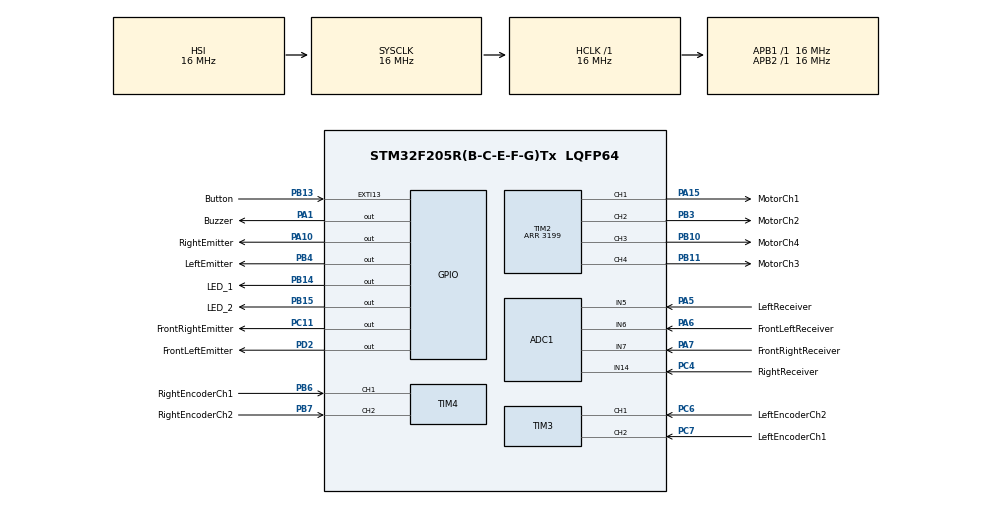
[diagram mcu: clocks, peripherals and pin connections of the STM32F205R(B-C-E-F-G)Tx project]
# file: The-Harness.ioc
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ADC1.Channel-0\#ChannelRegularConversion=ADC_CHANNEL_5
ADC1.ContinuousConvMode=ENABLE
ADC1.DMAContinuousRequests=ENABLE
ADC1.NbrOfConversionFlag=1
ADC1.Rank-0\#ChannelRegularConversion=1
ADC1.SamplingTime-0\#ChannelRegularConversion=ADC_SAMPLETIME_3CYCLES
ADC1.master=1
Dma.ADC1.0.Direction=DMA_PERIPH_TO_MEMORY
Dma.ADC1.0.FIFOMode=DMA_FIFOMODE_DISABLE
Dma.ADC1.0.Instance=DMA2_Stream0
Dma.ADC1.0.MemDataAlignment=DMA_MDATAALIGN_HALFWORD
Dma.ADC1.0.MemInc=DMA_MINC_ENABLE
Dma.ADC1.0.Mode=DMA_CIRCULAR
Dma.ADC1.0.PeriphDataAlignment=DMA_PDATAALIGN_HALFWORD
Dma.ADC1.0.PeriphInc=DMA_PINC_DISABLE
Dma.ADC1.0.Priority=DMA_PRIORITY_LOW
Dma.Request0=ADC1
Mcu.Family=STM32F2
Mcu.Name=STM32F205R(B-C-E-F-G)Tx
Mcu.Package=LQFP64
NVIC.DMA2_Stream0_IRQn=true\:0\:0\:false\:false\:true\:false\:true\:true
NVIC.EXTI15_10_IRQn=true\:0\:0\:false\:false\:true\:true\:true\:true
NVIC.PriorityGroup=NVIC_PRIORITYGROUP_4
NVIC.TIM2_IRQn=true\:0\:0\:false\:false\:true\:true\:true\:true
PA1.GPIO_Label=Buzzer
PA1.Signal=GPIO_Output
PA10.GPIO_Label=RightEmitter
PA10.Signal=GPIO_Output
PA15.GPIO_Label=MotorCh1
PA15.GPIO_PuPd=GPIO_PULLDOWN
PA15.Signal=S_TIM2_CH1_ETR
PA5.GPIO_Label=LeftReceiver
PA5.Signal=ADCx_IN5
PA6.GPIO_Label=FrontLeftReceiver
PA6.Signal=ADCx_IN6
PA7.GPIO_Label=FrontRightReceiver
PA7.Signal=ADCx_IN7
PB10.GPIO_Label=MotorCh4
PB10.GPIO_PuPd=GPIO_PULLDOWN
PB10.Signal=S_TIM2_CH3
PB11.GPIO_Label=MotorCh3
PB11.GPIO_PuPd=GPIO_PULLDOWN
PB11.Signal=S_TIM2_CH4
PB13.GPIO_Label=Button
PB13.GPIO_ModeDefaultEXTI=GPIO_MODE_IT_RISING_FALLING
PB13.Signal=GPXTI13
PB14.GPIO_Label=LED_1
PB14.Signal=GPIO_Output
PB15.GPIO_Label=LED_2
PB15.Signal=GPIO_Output
PB3.GPIO_Label=MotorCh2
PB3.GPIO_PuPd=GPIO_PULLDOWN
PB3.Signal=S_TIM2_CH2
PB4.GPIO_Label=LeftEmitter
PB4.Signal=GPIO_Output
PB6.GPIO_Label=RightEncoderCh1
PB6.Signal=S_TIM4_CH1
PB7.GPIO_Label=RightEncoderCh2
PB7.Signal=S_TIM4_CH2
PC11.GPIO_Label=FrontRightEmitter
PC11.Signal=GPIO_Output
PC4.GPIO_Label=RightReceiver
PC4.Signal=ADCx_IN14
PC6.GPIO_Label=LeftEncoderCh2
PC6.Signal=S_TIM3_CH1
PC7.GPIO_Label=LeftEncoderCh1
PC7.Signal=S_TIM3_CH2
PD2.GPIO_Label=FrontLeftEmitter
PD2.Signal=GPIO_Output
ProjectManager.HeapSize=0x200
ProjectManager.StackSize=0x400
ProjectManager.TargetToolchain=STM32CubeIDE
RCC.48MHZClocksFreq_Value=48000000
RCC.AHBFreq_Value=16000000
RCC.APB1Freq_Value=16000000
RCC.APB2Freq_Value=16000000
RCC.CortexFreq_Value=16000000
RCC.HSE_VALUE=25000000
RCC.HSI_VALUE=16000000
RCC.LSE_VALUE=32768
RCC.SYSCLKFreq_VALUE=16000000
RCC.VCOOutputFreq_Value=192000000
SH.ADCx_IN14.0=ADC1_IN14,IN14
SH.ADCx_IN5.0=ADC1_IN5,IN5
SH.ADCx_IN6.0=ADC1_IN6,IN6
SH.ADCx_IN7.0=ADC1_IN7,IN7
SH.S_TIM2_CH1_ETR.0=TIM2_CH1,PWM Generation1 CH1
SH.S_TIM2_CH2.0=TIM2_CH2,PWM Generation2 CH2
SH.S_TIM2_CH3.0=TIM2_CH3,PWM Generation3 CH3
SH.S_TIM2_CH4.0=TIM2_CH4,PWM Generation4 CH4
SH.S_TIM3_CH1.0=TIM3_CH1,Encoder_Interface
SH.S_TIM3_CH2.0=TIM3_CH2,Encoder_Interface
SH.S_TIM4_CH1.0=TIM4_CH1,Encoder_Interface
SH.S_TIM4_CH2.0=TIM4_CH2,Encoder_Interface
TIM2.Channel-PWM\ Generation1\ CH1=TIM_CHANNEL_1
TIM2.Channel-PWM\ Generation2\ CH2=TIM_CHANNEL_2
TIM2.Channel-PWM\ Generation3\ CH3=TIM_CHANNEL_3
TIM2.Channel-PWM\ Generation4\ CH4=TIM_CHANNEL_4
TIM2.Period=3199
TIM3.EncoderMode=TIM_ENCODERMODE_TI12
TIM4.EncoderMode=TIM_ENCODERMODE_TI12
board=custom

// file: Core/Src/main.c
/* USER CODE BEGIN Header */
/**
  ******************************************************************************
  * @file           : main.c
  * @brief          : Main program body
  ******************************************************************************
  * @attention
  *
  * Copyright (c) 2025 STMicroelectronics.
  * All rights reserved.
  *
  * This software is licensed under terms that can be found in the LICENSE file
  * in the root directory of this software component.
  * If no LICENSE file comes with this software, it is provided AS-IS.
  *
  ******************************************************************************
  */
/* USER CODE END Header */
#include "main.h"

/* USER CODE BEGIN Includes */
#include "encoders.h"
#include "motors.h"
#include "controller.h"
#include "systick.h"
#include "delay.h"
#include "pid.h"
#include "irs.h"
#include "solver.h"
#include "API.h"

/* USER CODE END Includes */

ADC_HandleTypeDef hadc1;
DMA_HandleTypeDef hdma_adc1;

TIM_HandleTypeDef htim2;
TIM_HandleTypeDef htim3;
TIM_HandleTypeDef htim4;

/* USER CODE BEGIN PV */
int16_t left_counts = 0;
int16_t right_counts = 0;
Action last_action = 0;

int right_bias = 0;

float left_ir_m= 0;
float front_left_ir_m= 0;
float front_right_ir_m= 0;
float right_ir_m= 0;
float buzzer = 0;
/* USER CODE END PV */

void SystemClock_Config(void);
static void MX_GPIO_Init(void);
static void MX_DMA_Init(void);
static void MX_TIM2_Init(void);
static void MX_TIM3_Init(void);
static void MX_TIM4_Init(void);
static void MX_ADC1_Init(void);

int main(void)
{

  /* MCU Configuration--------------------------------------------------------*/

  /* Reset of all peripherals, Initializes the Flash interface and the Systick. */
  HAL_Init();

  /* USER CODE BEGIN Init */
  Delay_Init();
  /* USER CODE END Init */

  /* Configure the system clock */
  SystemClock_Config();

  /* Initialize all configured peripherals */
  MX_GPIO_Init();
  MX_DMA_Init();
  MX_TIM2_Init();
  MX_TIM3_Init();
  MX_TIM4_Init();
  MX_ADC1_Init();
  /* USER CODE BEGIN 2 */

  HAL_TIM_Encoder_Start(&htim3, TIM_CHANNEL_ALL);
  HAL_TIM_Encoder_Start(&htim4, TIM_CHANNEL_ALL);

  HAL_TIM_PWM_Start(&htim2, TIM_CHANNEL_1);
  HAL_TIM_PWM_Start(&htim2, TIM_CHANNEL_2);
  HAL_TIM_PWM_Start(&htim2, TIM_CHANNEL_3);
  HAL_TIM_PWM_Start(&htim2, TIM_CHANNEL_4);

  HAL_Delay(1000);

  /* USER CODE END 2 */

  /* Infinite loop */
  /* USER CODE BEGIN WHILE */
  /*
   * Notes about movement
   * 412 PERFECT 90
   * 830 NEARLY PERFECT 180
   *
   *
   */
  while (1)
  {
	left_ir_m= readLeftIR();
	front_left_ir_m= readFrontLeftIR();
	front_right_ir_m= readFrontRightIR();
	right_ir_m= readRightIR();

	//HAL_Delay(500);

	left_counts = getLeftEncoderCounts();
	right_counts = getRightEncoderCounts();

	HAL_Delay(4000);
    setup_environment(right_bias);
    /*
    move_ir(615);
    idle();
    HAL_Delay(2000);
    move_ir(615);
    move_ir(625);
    idle();
    HAL_Delay(2000);
    move_ir(615);
    move_ir(625);
    move_ir(625);
    idle();
    HAL_Delay(2000);
    move_ir(615);
    move_ir(625);
    move_ir(625);
    move_ir(625);
    idle();
    */
    /*
    move_ir(590);
    move_ir(615);
    move_ir(615);
    move_ir(615);
    move_ir(615);
    move_ir(615);
    move_ir(615);
    move_ir(615);
    move_ir(615);
    move_ir(615);
    move_ir(615);
    move_ir(615);
    move_ir(615);
    move_ir(615);
    move_ir(615);
    idle();
    HAL_Delay(1000000);
*/
    while (1) {
        Action nextMove = solver();
        switch(nextMove){
            case FORWARD:
            	HAL_GPIO_WritePin(LED_1_GPIO_Port, LED_1_Pin, GPIO_PIN_SET);
            	if(last_action != FORWARD) move_ir(570);
            	else move_ir(591);
                last_action = FORWARD;
                HAL_GPIO_WritePin(LED_1_GPIO_Port, LED_1_Pin, GPIO_PIN_RESET);
                break;
            case LEFT:
            	if(last_action == FORWARD) idle();
                turn(412);
                last_action = LEFT;
                break;
            case RIGHT:
            	if(last_action == FORWARD) idle();
                turn(-412);
                last_action = RIGHT;
                break;
            case FLIP:
            	if(last_action == FORWARD) idle();
                turn(-825);
                last_action = FLIP;
                break;
            default:
                break;
        }
    }

	/*
	move_ir(625);
	move_ir(625);
	move_ir(625);
	idle();
	turn(-412);
	move_ir(625);
	idle();
	turn(412);
	move_ir(625);
	idle();
	turn(-412);
	move_ir(625);
	move_ir(625);
	idle();
	turn(-412);
	move_ir(625);
	idle();
	turn(-412);
	move_ir(625);
	idle();
	turn(412);
	move_ir(625);
	idle();
	turn(-412);
	move_ir(625);
	idle();
	turn(412);
	move_ir(625);
	move_ir(625);
	idle();
	turn(412);
	move_ir(625);
	move_ir(625);
	move_ir(625);
	idle();
	turn(412);
	move_ir(625);
	move_ir(625);
	move_ir(625);
	move_ir(625);
	idle();

	HAL_Delay(10000);
	*/

    /* USER CODE END WHILE */

  }
}

void SystemClock_Config(void)
{
  RCC_OscInitTypeDef RCC_OscInitStruct = {0};
  RCC_ClkInitTypeDef RCC_ClkInitStruct = {0};

  /** Initializes the RCC Oscillators according to the specified parameters
  * in the RCC_OscInitTypeDef structure.
  */
  RCC_OscInitStruct.OscillatorType = RCC_OSCILLATORTYPE_HSI;
  RCC_OscInitStruct.HSIState = RCC_HSI_ON;
  RCC_OscInitStruct.HSICalibrationValue = RCC_HSICALIBRATION_DEFAULT;
  RCC_OscInitStruct.PLL.PLLState = RCC_PLL_NONE;
  if (HAL_RCC_OscConfig(&RCC_OscInitStruct) != HAL_OK)
  {
    Error_Handler();
  }

  /** Initializes the CPU, AHB and APB buses clocks
  */
  RCC_ClkInitStruct.ClockType = RCC_CLOCKTYPE_HCLK|RCC_CLOCKTYPE_SYSCLK
                              |RCC_CLOCKTYPE_PCLK1|RCC_CLOCKTYPE_PCLK2;
  RCC_ClkInitStruct.SYSCLKSource = RCC_SYSCLKSOURCE_HSI;
  RCC_ClkInitStruct.AHBCLKDivider = RCC_SYSCLK_DIV1;
  RCC_ClkInitStruct.APB1CLKDivider = RCC_HCLK_DIV1;
  RCC_ClkInitStruct.APB2CLKDivider = RCC_HCLK_DIV1;

  if (HAL_RCC_ClockConfig(&RCC_ClkInitStruct, FLASH_LATENCY_0) != HAL_OK)
  {
    Error_Handler();
  }
}

static void MX_ADC1_Init(void)
{

  ADC_ChannelConfTypeDef sConfig = {0};

  /** Configure the global features of the ADC (Clock, Resolution, Data Alignment and number of conversion)
  */
  hadc1.Instance = ADC1;
  hadc1.Init.ClockPrescaler = ADC_CLOCK_SYNC_PCLK_DIV2;
  hadc1.Init.Resolution = ADC_RESOLUTION_12B;
  hadc1.Init.ScanConvMode = DISABLE;
  hadc1.Init.ContinuousConvMode = ENABLE;
  hadc1.Init.DiscontinuousConvMode = DISABLE;
  hadc1.Init.ExternalTrigConvEdge = ADC_EXTERNALTRIGCONVEDGE_NONE;
  hadc1.Init.ExternalTrigConv = ADC_SOFTWARE_START;
  hadc1.Init.DataAlign = ADC_DATAALIGN_RIGHT;
  hadc1.Init.NbrOfConversion = 1;
  hadc1.Init.DMAContinuousRequests = ENABLE;
  hadc1.Init.EOCSelection = ADC_EOC_SINGLE_CONV;
  if (HAL_ADC_Init(&hadc1) != HAL_OK)
  {
    Error_Handler();
  }

  /** Configure for the selected ADC regular channel its corresponding rank in the sequencer and its sample time.
  */
  sConfig.Channel = ADC_CHANNEL_5;
  sConfig.Rank = 1;
  sConfig.SamplingTime = ADC_SAMPLETIME_3CYCLES;
  if (HAL_ADC_ConfigChannel(&hadc1, &sConfig) != HAL_OK)
  {
    Error_Handler();
  }

}

static void MX_TIM2_Init(void)
{

  TIM_MasterConfigTypeDef sMasterConfig = {0};
  TIM_OC_InitTypeDef sConfigOC = {0};

  htim2.Instance = TIM2;
  htim2.Init.Prescaler = 0;
  htim2.Init.CounterMode = TIM_COUNTERMODE_UP;
  htim2.Init.Period = 3199;
  htim2.Init.ClockDivision = TIM_CLOCKDIVISION_DIV1;
  htim2.Init.AutoReloadPreload = TIM_AUTORELOAD_PRELOAD_DISABLE;
  if (HAL_TIM_PWM_Init(&htim2) != HAL_OK)
  {
    Error_Handler();
  }
  sMasterConfig.MasterOutputTrigger = TIM_TRGO_RESET;
  sMasterConfig.MasterSlaveMode = TIM_MASTERSLAVEMODE_DISABLE;
  if (HAL_TIMEx_MasterConfigSynchronization(&htim2, &sMasterConfig) != HAL_OK)
  {
    Error_Handler();
  }
  sConfigOC.OCMode = TIM_OCMODE_PWM1;
  sConfigOC.Pulse = 0;
  sConfigOC.OCPolarity = TIM_OCPOLARITY_HIGH;
  sConfigOC.OCFastMode = TIM_OCFAST_DISABLE;
  if (HAL_TIM_PWM_ConfigChannel(&htim2, &sConfigOC, TIM_CHANNEL_1) != HAL_OK)
  {
    Error_Handler();
  }
  if (HAL_TIM_PWM_ConfigChannel(&htim2, &sConfigOC, TIM_CHANNEL_2) != HAL_OK)
  {
    Error_Handler();
  }
  if (HAL_TIM_PWM_ConfigChannel(&htim2, &sConfigOC, TIM_CHANNEL_3) != HAL_OK)
  {
    Error_Handler();
  }
  if (HAL_TIM_PWM_ConfigChannel(&htim2, &sConfigOC, TIM_CHANNEL_4) != HAL_OK)
  {
    Error_Handler();
  }
  HAL_TIM_MspPostInit(&htim2);

}

static void MX_TIM3_Init(void)
{

  TIM_Encoder_InitTypeDef sConfig = {0};
  TIM_MasterConfigTypeDef sMasterConfig = {0};

  htim3.Instance = TIM3;
  htim3.Init.Prescaler = 0;
  htim3.Init.CounterMode = TIM_COUNTERMODE_UP;
  htim3.Init.Period = 65535;
  htim3.Init.ClockDivision = TIM_CLOCKDIVISION_DIV1;
  htim3.Init.AutoReloadPreload = TIM_AUTORELOAD_PRELOAD_DISABLE;
  sConfig.EncoderMode = TIM_ENCODERMODE_TI12;
  sConfig.IC1Polarity = TIM_ICPOLARITY_RISING;
  sConfig.IC1Selection = TIM_ICSELECTION_DIRECTTI;
  sConfig.IC1Prescaler = TIM_ICPSC_DIV1;
  sConfig.IC1Filter = 0;
  sConfig.IC2Polarity = TIM_ICPOLARITY_RISING;
  sConfig.IC2Selection = TIM_ICSELECTION_DIRECTTI;
  sConfig.IC2Prescaler = TIM_ICPSC_DIV1;
  sConfig.IC2Filter = 0;
  if (HAL_TIM_Encoder_Init(&htim3, &sConfig) != HAL_OK)
  {
    Error_Handler();
  }
  sMasterConfig.MasterOutputTrigger = TIM_TRGO_RESET;
  sMasterConfig.MasterSlaveMode = TIM_MASTERSLAVEMODE_DISABLE;
  if (HAL_TIMEx_MasterConfigSynchronization(&htim3, &sMasterConfig) != HAL_OK)
  {
    Error_Handler();
  }

}

static void MX_TIM4_Init(void)
{

  TIM_Encoder_InitTypeDef sConfig = {0};
  TIM_MasterConfigTypeDef sMasterConfig = {0};

  htim4.Instance = TIM4;
  htim4.Init.Prescaler = 0;
  htim4.Init.CounterMode = TIM_COUNTERMODE_UP;
  htim4.Init.Period = 65535;
  htim4.Init.ClockDivision = TIM_CLOCKDIVISION_DIV1;
  htim4.Init.AutoReloadPreload = TIM_AUTORELOAD_PRELOAD_DISABLE;
  sConfig.EncoderMode = TIM_ENCODERMODE_TI12;
  sConfig.IC1Polarity = TIM_ICPOLARITY_RISING;
  sConfig.IC1Selection = TIM_ICSELECTION_DIRECTTI;
  sConfig.IC1Prescaler = TIM_ICPSC_DIV1;
  sConfig.IC1Filter = 0;
  sConfig.IC2Polarity = TIM_ICPOLARITY_RISING;
  sConfig.IC2Selection = TIM_ICSELECTION_DIRECTTI;
  sConfig.IC2Prescaler = TIM_ICPSC_DIV1;
  sConfig.IC2Filter = 0;
  if (HAL_TIM_Encoder_Init(&htim4, &sConfig) != HAL_OK)
  {
    Error_Handler();
  }
  sMasterConfig.MasterOutputTrigger = TIM_TRGO_RESET;
  sMasterConfig.MasterSlaveMode = TIM_MASTERSLAVEMODE_DISABLE;
  if (HAL_TIMEx_MasterConfigSynchronization(&htim4, &sMasterConfig) != HAL_OK)
  {
    Error_Handler();
  }

}

static void MX_DMA_Init(void)
{

  /* DMA controller clock enable */
  __HAL_RCC_DMA2_CLK_ENABLE();

  /* DMA interrupt init */
  /* DMA2_Stream0_IRQn interrupt configuration */
  HAL_NVIC_SetPriority(DMA2_Stream0_IRQn, 0, 0);
  HAL_NVIC_EnableIRQ(DMA2_Stream0_IRQn);

}

static void MX_GPIO_Init(void)
{
  GPIO_InitTypeDef GPIO_InitStruct = {0};

  /* GPIO Ports Clock Enable */
  __HAL_RCC_GPIOA_CLK_ENABLE();
  __HAL_RCC_GPIOC_CLK_ENABLE();
  __HAL_RCC_GPIOB_CLK_ENABLE();
  __HAL_RCC_GPIOD_CLK_ENABLE();

  /*Configure GPIO pin Output Level */
  HAL_GPIO_WritePin(GPIOA, Buzzer_Pin|RightEmitter_Pin, GPIO_PIN_RESET);

  /*Configure GPIO pin Output Level */
  HAL_GPIO_WritePin(GPIOB, LED_1_Pin|LED_2_Pin|LeftEmitter_Pin, GPIO_PIN_RESET);

  /*Configure GPIO pin Output Level */
  HAL_GPIO_WritePin(FrontRightEmitter_GPIO_Port, FrontRightEmitter_Pin, GPIO_PIN_RESET);

  /*Configure GPIO pin Output Level */
  HAL_GPIO_WritePin(FrontLeftEmitter_GPIO_Port, FrontLeftEmitter_Pin, GPIO_PIN_RESET);

  /*Configure GPIO pins : Buzzer_Pin RightEmitter_Pin */
  GPIO_InitStruct.Pin = Buzzer_Pin|RightEmitter_Pin;
  GPIO_InitStruct.Mode = GPIO_MODE_OUTPUT_PP;
  GPIO_InitStruct.Pull = GPIO_NOPULL;
  GPIO_InitStruct.Speed = GPIO_SPEED_FREQ_LOW;
  HAL_GPIO_Init(GPIOA, &GPIO_InitStruct);

  /*Configure GPIO pin : Button_Pin */
  GPIO_InitStruct.Pin = Button_Pin;
  GPIO_InitStruct.Mode = GPIO_MODE_IT_RISING_FALLING;
  GPIO_InitStruct.Pull = GPIO_NOPULL;
  HAL_GPIO_Init(Button_GPIO_Port, &GPIO_InitStruct);

  /*Configure GPIO pins : LED_1_Pin LED_2_Pin LeftEmitter_Pin */
  GPIO_InitStruct.Pin = LED_1_Pin|LED_2_Pin|LeftEmitter_Pin;
  GPIO_InitStruct.Mode = GPIO_MODE_OUTPUT_PP;
  GPIO_InitStruct.Pull = GPIO_NOPULL;
  GPIO_InitStruct.Speed = GPIO_SPEED_FREQ_LOW;
  HAL_GPIO_Init(GPIOB, &GPIO_InitStruct);

  /*Configure GPIO pin : FrontRightEmitter_Pin */
  GPIO_InitStruct.Pin = FrontRightEmitter_Pin;
  GPIO_InitStruct.Mode = GPIO_MODE_OUTPUT_PP;
  GPIO_InitStruct.Pull = GPIO_NOPULL;
  GPIO_InitStruct.Speed = GPIO_SPEED_FREQ_LOW;
  HAL_GPIO_Init(FrontRightEmitter_GPIO_Port, &GPIO_InitStruct);

  /*Configure GPIO pin : FrontLeftEmitter_Pin */
  GPIO_InitStruct.Pin = FrontLeftEmitter_Pin;
  GPIO_InitStruct.Mode = GPIO_MODE_OUTPUT_PP;
  GPIO_InitStruct.Pull = GPIO_NOPULL;
  GPIO_InitStruct.Speed = GPIO_SPEED_FREQ_LOW;
  HAL_GPIO_Init(FrontLeftEmitter_GPIO_Port, &GPIO_InitStruct);

  /* EXTI interrupt init*/
  HAL_NVIC_SetPriority(EXTI15_10_IRQn, 0, 0);
  HAL_NVIC_EnableIRQ(EXTI15_10_IRQn);

}

/* USER CODE BEGIN 4 */
ADC_HandleTypeDef* Get_HADC1_Ptr(void)
{
	return &hadc1;
}

void HAL_GPIO_EXTI_Callback(uint16_t GPIO_PIN)
{
	if (GPIO_PIN == Button_Pin)
	{
		HAL_GPIO_WritePin(LED_1_GPIO_Port, LED_1_Pin, GPIO_PIN_SET);
		right_bias = 1;
	}
}

/* USER CODE END 4 */

void Error_Handler(void)
{
  __disable_irq();
  while (1)
  {
  }
}
